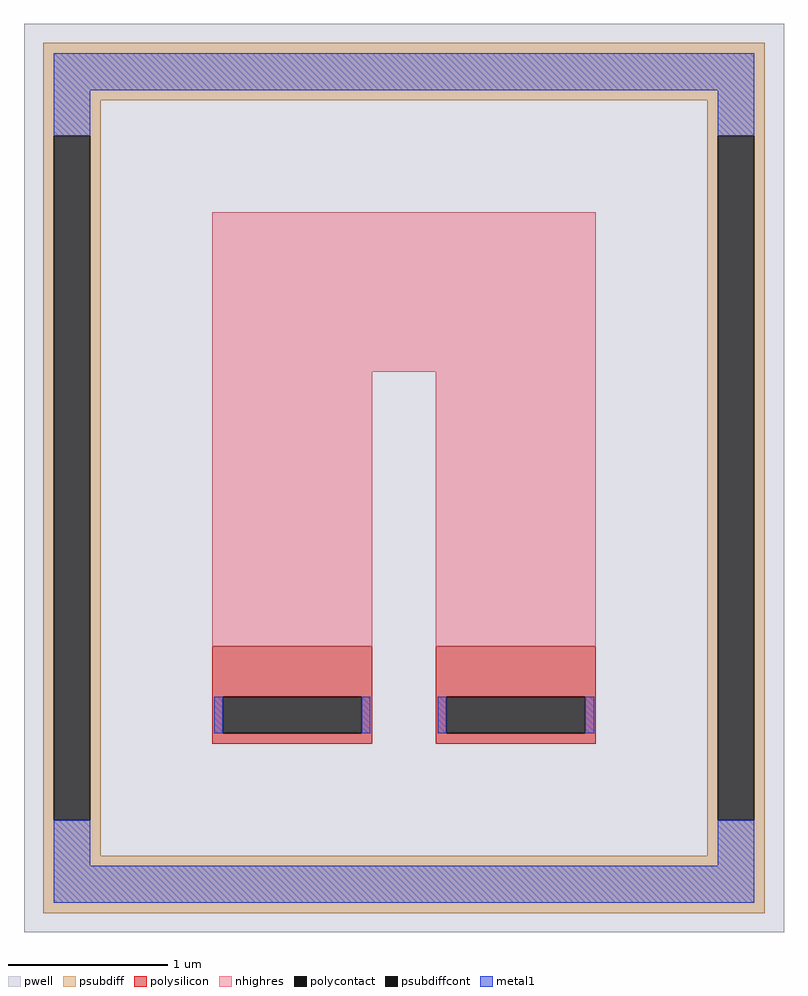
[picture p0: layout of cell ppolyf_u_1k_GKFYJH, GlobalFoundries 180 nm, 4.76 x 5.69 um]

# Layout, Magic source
magic
tech gf180mcuD
magscale 1 10
<< pwell >>
rect -476 -569 476 569
<< psubdiff >>
rect -452 473 452 545
rect -452 429 -380 473
rect -452 -429 -439 429
rect -393 -429 -380 429
rect 380 429 452 473
rect -452 -473 -380 -429
rect 380 -429 393 429
rect 439 -429 452 429
rect 380 -473 452 -429
rect -452 -545 452 -473
<< psubdiffcont >>
rect -439 -429 -393 429
rect 393 -429 439 429
<< polysilicon >>
rect -240 -274 -40 -211
rect -240 -320 -227 -274
rect -53 -320 -40 -274
rect -240 -333 -40 -320
rect 40 -274 240 -211
rect 40 -320 53 -274
rect 227 -320 240 -274
rect 40 -333 240 -320
<< polycontact >>
rect -227 -320 -53 -274
rect 53 -320 227 -274
<< nhighres >>
rect -240 133 240 333
rect -240 -211 -40 133
rect 40 -211 240 133
<< metal1 >>
rect -439 486 439 532
rect -439 429 -393 486
rect 393 429 439 486
rect -238 -320 -227 -274
rect -53 -320 -42 -274
rect 42 -320 53 -274
rect 227 -320 238 -274
rect -439 -486 -393 -429
rect 393 -486 439 -429
rect -439 -532 439 -486
<< properties >>
string FIXED_BBOX -416 -509 416 509
string gencell ppolyf_u_1k
string library gf180mcu
string parameters w 1.0 l 2.5 m 1 nx 2 wmin 1.000 lmin 1.000 class resistor rho 1000 val 6.4k dummy 0 dw 0.0 term 0.0 sterm 0.0 caplen 0.4 snake 1 glc 1 grc 1 gtc 0 gbc 0 roverlap 1 endcov 100 full_metal 1 compatible {ppolyf_u_1k ppolyf_u_1k_6p0}
<< end >>
